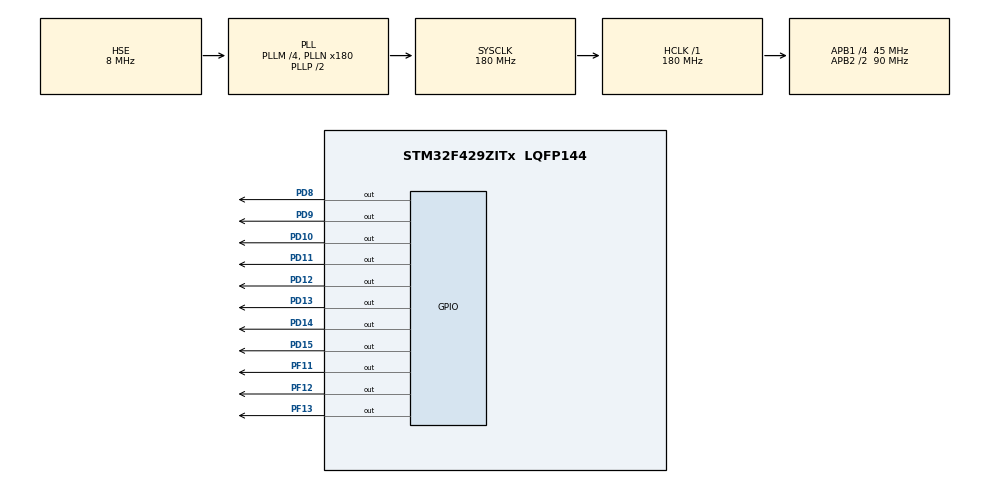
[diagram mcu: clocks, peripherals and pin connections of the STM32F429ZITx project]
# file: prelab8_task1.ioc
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Mcu.Family=STM32F4
Mcu.Name=STM32F429ZITx
Mcu.Package=LQFP144
NVIC.PriorityGroup=NVIC_PRIORITYGROUP_4
NVIC.TIM5_IRQn=true\:0\:0\:false\:false\:true\:true\:true\:true
PD10.Signal=GPIO_Output
PD11.Signal=GPIO_Output
PD12.Signal=GPIO_Output
PD13.Signal=GPIO_Output
PD14.Signal=GPIO_Output
PD15.Signal=GPIO_Output
PD8.Signal=GPIO_Output
PD9.Signal=GPIO_Output
PF11.Signal=GPIO_Output
PF12.Signal=GPIO_Output
PF13.Signal=GPIO_Output
PH0/OSC_IN.Mode=HSE-External-Oscillator
PH0/OSC_IN.Signal=RCC_OSC_IN
PH1/OSC_OUT.Mode=HSE-External-Oscillator
PH1/OSC_OUT.Signal=RCC_OSC_OUT
ProjectManager.HeapSize=0x200
ProjectManager.StackSize=0x400
ProjectManager.TargetToolchain=EWARM V8.50
RCC.48MHZClocksFreq_Value=90000000
RCC.AHBFreq_Value=180000000
RCC.APB1CLKDivider=RCC_HCLK_DIV4
RCC.APB1Freq_Value=45000000
RCC.APB1TimFreq_Value=90000000
RCC.APB2CLKDivider=RCC_HCLK_DIV2
RCC.APB2Freq_Value=90000000
RCC.APB2TimFreq_Value=180000000
RCC.CortexFreq_Value=180000000
RCC.HCLKFreq_Value=180000000
RCC.HSE_VALUE=8000000
RCC.HSI_VALUE=16000000
RCC.LSE_VALUE=32768
RCC.PLLM=4
RCC.PLLN=180
RCC.PLLSourceVirtual=RCC_PLLSOURCE_HSE
RCC.SYSCLKFreq_VALUE=180000000
RCC.SYSCLKSource=RCC_SYSCLKSOURCE_PLLCLK
RCC.VCOOutputFreq_Value=360000000
TIM5.Channel-Output\ Compare1\ No\ Output=TIM_CHANNEL_1
TIM5.Period=10000
TIM5.Prescaler=9000
VP_TIM5_VS_no_output1.Mode=Output Compare1 No Output
board=custom

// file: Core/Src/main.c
/* USER CODE BEGIN Header */
/**
  ******************************************************************************
  * @file           : main.c
  * @brief          : Main program body
  ******************************************************************************
  * @attention
  *
  * Copyright (c) 2023 STMicroelectronics.
  * All rights reserved.
  *
  * This software is licensed under terms that can be found in the LICENSE file
  * in the root directory of this software component.
  * If no LICENSE file comes with this software, it is provided AS-IS.
  *
  ******************************************************************************
  */
/* USER CODE END Header */
#include "main.h"

/* USER CODE BEGIN PD */
void LCD_Init();
void LCD_SendCmd(uint8_t);
void LCD_SendData(uint8_t);
void int_to_str(uint8_t);
/* USER CODE END PD */

TIM_HandleTypeDef htim5;

/* USER CODE BEGIN PV */
uint8_t out = 0;
uint8_t num_out[3];
/* USER CODE END PV */

void SystemClock_Config(void);
static void MX_GPIO_Init(void);
static void MX_TIM5_Init(void);

int main(void)
{

  /* MCU Configuration--------------------------------------------------------*/

  /* Reset of all peripherals, Initializes the Flash interface and the Systick. */
  HAL_Init();

  /* Configure the system clock */
  SystemClock_Config();

  /* Initialize all configured peripherals */
  MX_GPIO_Init();
  MX_TIM5_Init();
  /* USER CODE BEGIN 2 */
  LCD_Init();
  //HAL_TIM_OC_Start_IT(&htim5, TIM_CHANNEL_1);
  /* USER CODE END 2 */

  /* Infinite loop */
  /* USER CODE BEGIN WHILE */
  while (1)
  {if (out < 213){
    LCD_SendCmd(0x01);
    int_to_str(out);
    for (int i=0; i<3; i++){
      LCD_SendData(num_out[i]);
    }
    LCD_SendData('C');
    out++;
  }
  else{
    out = 0; // reset out once 213 is reached
  }
  HAL_Delay(1000);
    /* USER CODE END WHILE */

  }
}

void SystemClock_Config(void)
{
  RCC_OscInitTypeDef RCC_OscInitStruct = {0};
  RCC_ClkInitTypeDef RCC_ClkInitStruct = {0};

  /** Configure the main internal regulator output voltage
  */
  __HAL_RCC_PWR_CLK_ENABLE();
  __HAL_PWR_VOLTAGESCALING_CONFIG(PWR_REGULATOR_VOLTAGE_SCALE1);

  /** Initializes the RCC Oscillators according to the specified parameters
  * in the RCC_OscInitTypeDef structure.
  */
  RCC_OscInitStruct.OscillatorType = RCC_OSCILLATORTYPE_HSE;
  RCC_OscInitStruct.HSEState = RCC_HSE_ON;
  RCC_OscInitStruct.PLL.PLLState = RCC_PLL_ON;
  RCC_OscInitStruct.PLL.PLLSource = RCC_PLLSOURCE_HSE;
  RCC_OscInitStruct.PLL.PLLM = 4;
  RCC_OscInitStruct.PLL.PLLN = 180;
  RCC_OscInitStruct.PLL.PLLP = RCC_PLLP_DIV2;
  RCC_OscInitStruct.PLL.PLLQ = 4;
  if (HAL_RCC_OscConfig(&RCC_OscInitStruct) != HAL_OK)
  {
    Error_Handler();
  }

  /** Activate the Over-Drive mode
  */
  if (HAL_PWREx_EnableOverDrive() != HAL_OK)
  {
    Error_Handler();
  }

  /** Initializes the CPU, AHB and APB buses clocks
  */
  RCC_ClkInitStruct.ClockType = RCC_CLOCKTYPE_HCLK|RCC_CLOCKTYPE_SYSCLK
                              |RCC_CLOCKTYPE_PCLK1|RCC_CLOCKTYPE_PCLK2;
  RCC_ClkInitStruct.SYSCLKSource = RCC_SYSCLKSOURCE_PLLCLK;
  RCC_ClkInitStruct.AHBCLKDivider = RCC_SYSCLK_DIV1;
  RCC_ClkInitStruct.APB1CLKDivider = RCC_HCLK_DIV4;
  RCC_ClkInitStruct.APB2CLKDivider = RCC_HCLK_DIV2;

  if (HAL_RCC_ClockConfig(&RCC_ClkInitStruct, FLASH_LATENCY_5) != HAL_OK)
  {
    Error_Handler();
  }
}

static void MX_TIM5_Init(void)
{

  TIM_MasterConfigTypeDef sMasterConfig = {0};
  TIM_OC_InitTypeDef sConfigOC = {0};

  htim5.Instance = TIM5;
  htim5.Init.Prescaler = 9000;
  htim5.Init.CounterMode = TIM_COUNTERMODE_UP;
  htim5.Init.Period = 10000;
  htim5.Init.ClockDivision = TIM_CLOCKDIVISION_DIV1;
  htim5.Init.AutoReloadPreload = TIM_AUTORELOAD_PRELOAD_DISABLE;
  if (HAL_TIM_OC_Init(&htim5) != HAL_OK)
  {
    Error_Handler();
  }
  sMasterConfig.MasterOutputTrigger = TIM_TRGO_RESET;
  sMasterConfig.MasterSlaveMode = TIM_MASTERSLAVEMODE_DISABLE;
  if (HAL_TIMEx_MasterConfigSynchronization(&htim5, &sMasterConfig) != HAL_OK)
  {
    Error_Handler();
  }
  sConfigOC.OCMode = TIM_OCMODE_TIMING;
  sConfigOC.Pulse = 0;
  sConfigOC.OCPolarity = TIM_OCPOLARITY_HIGH;
  sConfigOC.OCFastMode = TIM_OCFAST_DISABLE;
  if (HAL_TIM_OC_ConfigChannel(&htim5, &sConfigOC, TIM_CHANNEL_1) != HAL_OK)
  {
    Error_Handler();
  }

}

static void MX_GPIO_Init(void)
{
  GPIO_InitTypeDef GPIO_InitStruct = {0};

  /* GPIO Ports Clock Enable */
  __HAL_RCC_GPIOH_CLK_ENABLE();
  __HAL_RCC_GPIOF_CLK_ENABLE();
  __HAL_RCC_GPIOD_CLK_ENABLE();

  /*Configure GPIO pin Output Level */
  HAL_GPIO_WritePin(GPIOF, GPIO_PIN_11|GPIO_PIN_12|GPIO_PIN_13, GPIO_PIN_RESET);

  /*Configure GPIO pin Output Level */
  HAL_GPIO_WritePin(GPIOD, GPIO_PIN_8|GPIO_PIN_9|GPIO_PIN_10|GPIO_PIN_11
                          |GPIO_PIN_12|GPIO_PIN_13|GPIO_PIN_14|GPIO_PIN_15, GPIO_PIN_RESET);

  /*Configure GPIO pins : PF11 PF12 PF13 */
  GPIO_InitStruct.Pin = GPIO_PIN_11|GPIO_PIN_12|GPIO_PIN_13;
  GPIO_InitStruct.Mode = GPIO_MODE_OUTPUT_PP;
  GPIO_InitStruct.Pull = GPIO_NOPULL;
  GPIO_InitStruct.Speed = GPIO_SPEED_FREQ_LOW;
  HAL_GPIO_Init(GPIOF, &GPIO_InitStruct);

  /*Configure GPIO pins : PD8 PD9 PD10 PD11
                           PD12 PD13 PD14 PD15 */
  GPIO_InitStruct.Pin = GPIO_PIN_8|GPIO_PIN_9|GPIO_PIN_10|GPIO_PIN_11
                          |GPIO_PIN_12|GPIO_PIN_13|GPIO_PIN_14|GPIO_PIN_15;
  GPIO_InitStruct.Mode = GPIO_MODE_OUTPUT_PP;
  GPIO_InitStruct.Pull = GPIO_NOPULL;
  GPIO_InitStruct.Speed = GPIO_SPEED_FREQ_LOW;
  HAL_GPIO_Init(GPIOD, &GPIO_InitStruct);

}

/* USER CODE BEGIN 4 */
void LCD_Init(){  // from datasheet
  HAL_GPIO_WritePin(GPIOF, GPIO_PIN_13, GPIO_PIN_RESET); // set E = 0
  HAL_Delay(100);  // setup time
  LCD_SendCmd(0x30);
  HAL_Delay(30);
  LCD_SendCmd(0x30);
  HAL_Delay(10);
  LCD_SendCmd(0x30);
  HAL_Delay(10);
  LCD_SendCmd(0x38);
  LCD_SendCmd(0x80);
  LCD_SendCmd(0x0c);
  LCD_SendCmd(0x06);
}

void LCD_SendCmd(uint8_t cmd){
  GPIOD -> ODR = (cmd<<8)| (0x0000); // place the command in the correct portion of the output to write to the data port of LCD
  HAL_GPIO_WritePin(GPIOF, GPIO_PIN_11, GPIO_PIN_RESET); // set to command mode
  HAL_GPIO_WritePin(GPIOF, GPIO_PIN_12, GPIO_PIN_RESET); // set to write mode
  HAL_GPIO_WritePin(GPIOF, GPIO_PIN_13, GPIO_PIN_SET); // give an E pulse
  HAL_Delay(1);
  HAL_GPIO_WritePin(GPIOF, GPIO_PIN_13, GPIO_PIN_RESET);
}

void LCD_SendData(uint8_t i){
  GPIOD -> ODR = (i<<8)| (0x0000); // place the command in the correct portion of the output to write to the data port of LCD
  HAL_GPIO_WritePin(GPIOF, GPIO_PIN_11, GPIO_PIN_SET); // set to data mode
  HAL_GPIO_WritePin(GPIOF, GPIO_PIN_12, GPIO_PIN_RESET); // set to write mode
  HAL_GPIO_WritePin(GPIOF, GPIO_PIN_13, GPIO_PIN_SET); // give an E pulse
  HAL_Delay(1);
  HAL_GPIO_WritePin(GPIOF, GPIO_PIN_13, GPIO_PIN_RESET);
}

void int_to_str(uint8_t number) {
  int Hex_offset = 0x30;
  int first_dig = (number % 1000)/100;  //separate the hundreds digit
  first_dig = first_dig + Hex_offset;
  num_out[0] = first_dig;
  int second_dig = (number % 100)/10 ; //separate the tens digit
  second_dig = second_dig + Hex_offset;
  num_out[1] = second_dig;
  int third_dig = number % 10;  // separate the ones place
  third_dig = third_dig + Hex_offset;
  num_out[2] = third_dig;
}
/* USER CODE END 4 */

void Error_Handler(void)
{
  __disable_irq();
  while (1)
  {
  }
}
